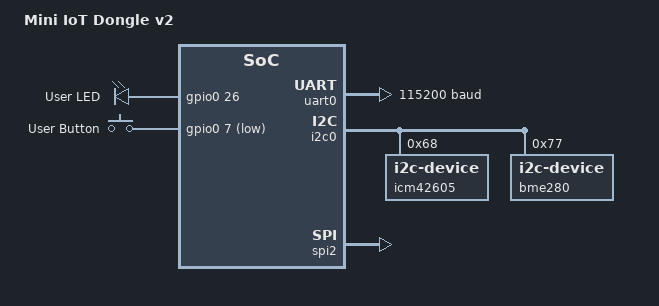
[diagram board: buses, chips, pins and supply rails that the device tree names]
// Copyright (c) 2024 Nordic Semiconductor ASA
// SPDX-License-Identifier: Apache-2.0

/dts-v1/;
#include <nordic/nrf9160ns_sica.dtsi>
#include "mini_iot_dongle_v2-pinctrl.dtsi"

/ {
	model = "Mini IoT Dongle v2";
	compatible = "voxel-interaction-design,mini-iot-dongle-v2";

	chosen {
		zephyr,sram = &sram0;
		zephyr,flash = &flash0;
		zephyr,code-partition = &slot0_ns_partition;
		zephyr,console = &uart0;
		zephyr,shell-uart = &uart0;
		zephyr,uart-mcumgr = &uart0;
	};
	leds {
		compatible = "gpio-leds";
		led0: led_0 {
			gpios = <&gpio0 26 0>;
			label = "User LED";
		};
	};


	buttons {
		compatible = "gpio-keys";
		button0: button_0 {
			gpios = <&gpio0 7 (GPIO_ACTIVE_LOW | GPIO_PULL_DOWN )>;
			label = "User Button";
		};
	};
};

&flash0 {
	partitions {
		compatible = "fixed-partitions";
		#address-cells = <1>;
		#size-cells = <1>;

		boot_partition: partition@0 {
			label = "mcuboot";
			reg = <0x0 0x10000>;
		};
		slot0_partition: partition@10000 {
			label = "image-0";
			reg = <0x10000 0x40000>;
		};
		slot0_ns_partition: partition@50000 {
			label = "image-0-nonsecure";
			reg = <0x50000 0x30000>;
		};
		slot1_partition: partition@80000 {
			label = "image-1";
			reg = <0x80000 0x40000>;
		};
		slot1_ns_partition: partition@c0000 {
			label = "image-1-nonsecure";
			reg = <0xc0000 0x30000>;
		};
		scratch_partition: partition@f0000 {
			label = "image-scratch";
			reg = <0xf0000 0xa000>;
		};
		storage_partition: partition@fa000 {
			label = "storage";
			reg = <0xfa000 0x6000>;
		};
	};
};

&gpio0 {
	status = "okay";
};

&gpiote {
	status = "okay";
};

uart0: &uart0 {
	status = "okay";
	current-speed = <115200>;
	pinctrl-0 = <&uart0_default>;
	pinctrl-1 = <&uart0_sleep>;
	pinctrl-names = "default", "sleep";
};
uart2: &uart2 {
	status = "disabled";
	current-speed = <115200>;
	pinctrl-0 = <&uart2_default>;
	pinctrl-1 = <&uart2_sleep>;
	pinctrl-names = "default", "sleep";
};

i2c0: &i2c0 {
	status = "okay";
	pinctrl-0 = <&i2c0_default>;
	pinctrl-1 = <&i2c0_sleep>;
	pinctrl-names = "default","sleep";

	icm42605: icm42605@68 {
		compatible = "i2c-device";
		reg = <0x68>;
		psels = <NRF_PSEL(TWIM_SDA, 0, 11)>, <NRF_PSEL(TWIM_SCL, 0, 12)>;
	};

	bme280: bme280@77 {
		compatible = "i2c-device";
		reg = <0x77>;
		psels = <NRF_PSEL(TWIM_SDA, 0, 11)>, <NRF_PSEL(TWIM_SCL, 0, 12)>;
	};
};

spi2: &spi2 {
	compatible = "nordic,nrf-spim";
	status = "okay";
	cs-gpios = <&gpio0 6 GPIO_ACTIVE_LOW>;
	pinctrl-0 = <&spi2_default>;
	pinctrl-1 = <&spi2_sleep>;
	pinctrl-names = "default", "sleep";
};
